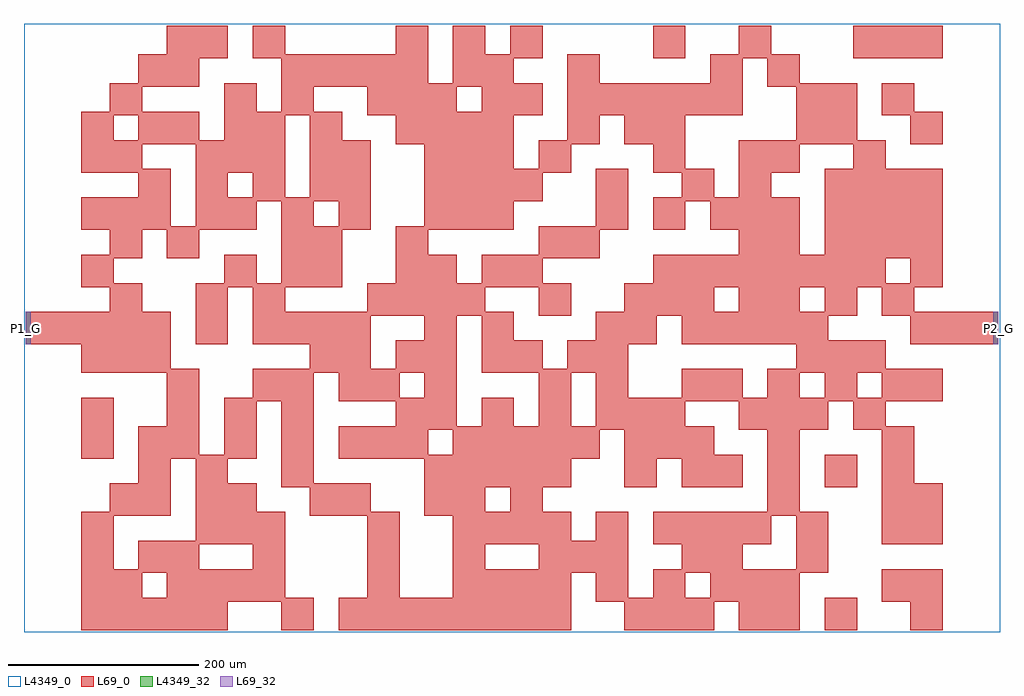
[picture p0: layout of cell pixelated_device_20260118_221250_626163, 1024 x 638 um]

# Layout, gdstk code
import gdstk
lib = gdstk.Library(unit=1e-6, precision=1e-09)
def R(c, l, rs):  # rectangles x0, y0, x1, y1
    for r in rs: c.add(gdstk.rectangle(r[:2], r[2:], *l))
def P(c, l, *ps):  # polygons
    for p in ps: c.add(gdstk.Polygon(p, *l))
L69_0 = (69, 0)
L69_32 = (69, 32)
L4349_0 = (4349, 0)
L4349_32 = (4349, 32)

pixelated_device_2026011 = lib.new_cell('pixelated_device_20260118_221250_626163')
R(pixelated_device_2026011, L69_0, [(328,-317,362,-283), (328,-167,362,-133), (-452,-137,-418,-73), (148,283,182,317), (358,283,452,317)])
P(pixelated_device_2026011, L69_0, [(418,-317),(418,-287),(388,-287),(388,-253),(452,-253),(452,-317)],
  [(418,193),(418,223),(388,223),(388,257),(422,257),(422,227),(452,227),(452,193)],
  [(-452,-317),(-452,-257),(-388,-257),(-388,-283),(-362,-283),(-362,-257),(-452,-257),(-452,-193),(-422,-193),(-422,-163),(-392,-163),(-392,-137),(-358,-137),(-358,-197),(-418,-197),(-418,-253),(-392,-253),(-392,-227),(-328,-227),(-328,-253),(-272,-253),(-272,-227),(-392,-227),(-392,-223),(-332,-223),(-332,-137),(-392,-137),(-392,-103),(-362,-103),(-362,-47),(-452,-47),(-452,-17),(-510,-17),(-510,17),(-422,17),(-422,43),(-452,43),(-452,77),(-422,77),(-422,103),(-452,103),(-452,137),(-392,137),(-392,163),(-452,163),(-452,193),(-388,193),(-388,167),(-358,167),(-358,107),(-332,107),(-332,133),(-268,133),(-268,103),(-328,103),(-328,73),(-362,73),(-362,103),(-388,103),(-388,73),(-418,73),(-418,47),(-388,47),(-388,17),(-358,17),(-358,-43),(-328,-43),(-328,-133),(-302,-133),(-302,-73),(-272,-73),(-272,-47),(-208,-47),(-208,-163),(-148,-163),(-148,-193),(-118,-193),(-118,-283),(-62,-283),(-62,-227),(-28,-227),(-28,-253),(28,-253),(28,-227),(-62,-227),(-62,-197),(-92,-197),(-92,-167),(-28,-167),(-28,-193),(-2,-193),(-2,-167),(-92,-167),(-92,-137),(-182,-137),(-182,-107),(-88,-107),(-88,-133),(-62,-133),(-62,-107),(-182,-107),(-182,-103),(-122,-103),(-122,-77),(-182,-77),(-182,-47),(-118,-47),(-118,-73),(-92,-73),(-92,-47),(-272,-47),(-272,-43),(-212,-43),(-212,-17),(-272,-17),(-272,13),(-148,13),(-148,-43),(-122,-43),(-122,-13),(-92,-13),(-92,13),(-58,13),(-58,-103),(-32,-103),(-32,-73),(2,-73),(2,-103),(28,-103),(28,-47),(62,-47),(62,-103),(88,-103),(88,-77),(182,-77),(182,-103),(212,-103),(212,-133),(242,-133),(242,-167),(178,-167),(178,-137),(152,-137),(152,-167),(118,-167),(118,-107),(92,-107),(92,-137),(62,-137),(62,-167),(32,-167),(32,-193),(62,-193),(62,-223),(88,-223),(88,-193),(122,-193),(122,-283),(148,-283),(148,-257),(182,-257),(182,-283),(208,-283),(208,-257),(148,-257),(148,-253),(178,-253),(178,-227),(148,-227),(148,-197),(272,-197),(272,-227),(242,-227),(242,-253),(298,-253),(298,-197),(148,-197),(148,-193),(268,-193),(268,-107),(238,-107),(238,-77),(88,-77),(88,-47),(-32,-47),(-32,13),(-272,13),(-272,43),(-298,43),(-298,-17),(-332,-17),(-332,47),(-302,47),(-302,77),(-268,77),(-268,47),(-242,47),(-242,133),(-208,133),(-208,107),(-182,107),(-182,133),(-332,133),(-332,163),(-298,163),(-298,137),(-272,137),(-272,163),(-332,163),(-332,193),(-452,193),(-452,223),(-418,223),(-418,197),(-392,197),(-392,223),(-452,223),(-452,227),(-422,227),(-422,257),(-392,257),(-392,287),(-362,287),(-362,317),(-298,317),(-298,283),(-328,283),(-328,253),(-388,253),(-388,227),(-328,227),(-328,197),(-302,197),(-302,223),(-238,223),(-238,137),(-212,137),(-212,223),(-302,223),(-302,257),(-268,257),(-268,227),(-242,227),(-242,253),(-208,253),(-208,227),(-178,227),(-178,197),(-148,197),(-148,103),(-178,103),(-178,43),(-238,43),(-238,17),(-152,17),(-152,47),(-122,47),(-122,107),(-92,107),(-92,193),(-122,193),(-122,223),(-152,223),(-152,253),(-58,253),(-58,227),(-32,227),(-32,253),(-242,253),(-242,283),(-272,283),(-272,317),(-238,317),(-238,287),(-122,287),(-122,317),(-88,317),(-88,257),(-62,257),(-62,317),(-28,317),(-28,287),(-2,287),(-2,317),(32,317),(32,283),(2,283),(2,257),(32,257),(32,223),(2,223),(2,167),(28,167),(28,197),(58,197),(58,223),(92,223),(92,193),(62,193),(62,163),(32,163),(32,133),(2,133),(2,103),(-88,103),(-88,77),(-58,77),(-58,47),(-32,47),(-32,77),(28,77),(28,107),(88,107),(88,167),(122,167),(122,103),(92,103),(92,73),(32,73),(32,47),(62,47),(62,13),(28,13),(28,43),(-28,43),(-28,17),(2,17),(2,-13),(32,-13),(32,-43),(58,-43),(58,-13),(88,-13),(88,13),(152,13),(152,-17),(122,-17),(122,-73),(178,-73),(178,-43),(242,-43),(242,-73),(268,-73),(268,-47),(302,-47),(302,-73),(328,-73),(328,-47),(362,-47),(362,-73),(388,-73),(388,-47),(268,-47),(268,-43),(298,-43),(298,-17),(178,-17),(178,13),(88,13),(88,17),(118,17),(118,43),(212,43),(212,17),(238,17),(238,43),(302,43),(302,17),(328,17),(328,43),(118,43),(118,47),(148,47),(148,73),(392,73),(392,47),(418,47),(418,73),(148,73),(148,77),(238,77),(238,103),(208,103),(208,133),(182,133),(182,103),(148,103),(148,137),(178,137),(178,163),(148,163),(148,193),(118,193),(118,223),(58,223),(58,287),(92,287),(92,257),(208,257),(208,283),(242,283),(242,223),(182,223),(182,167),(212,167),(212,137),(238,137),(238,193),(302,193),(302,163),(272,163),(272,137),(302,137),(302,77),(328,77),(328,167),(358,167),(358,193),(238,193),(238,197),(298,197),(298,253),(268,253),(268,283),(208,283),(208,287),(238,287),(238,317),(272,317),(272,287),(302,287),(302,257),(362,257),(362,197),(392,197),(392,167),(452,167),(452,43),(422,43),(422,17),(510,17),(510,-17),(418,-17),(418,13),(388,13),(388,43),(362,43),(362,13),(332,13),(332,-13),(392,-13),(392,-43),(452,-43),(452,-77),(392,-77),(392,-103),(422,-103),(422,-163),(452,-163),(452,-227),(388,-227),(388,-107),(358,-107),(358,-77),(332,-77),(332,-107),(302,-107),(302,-193),(332,-193),(332,-257),(302,-257),(302,-317),(238,-317),(238,-287),(212,-287),(212,-317),(118,-317),(118,-287),(88,-287),(88,-257),(62,-257),(62,-317),(-182,-317),(-182,-283),(-152,-283),(-152,-197),(-212,-197),(-212,-167),(-242,-167),(-242,-77),(-268,-77),(-268,-137),(-298,-137),(-298,-163),(-268,-163),(-268,-193),(-238,-193),(-238,-283),(-208,-283),(-208,-317),(-242,-317),(-242,-287),(-298,-287),(-298,-317)])
R(pixelated_device_2026011, L69_32, [(-510,-17,-505,17), (505,-17,510,17)])
R(pixelated_device_2026011, L4349_0, [(-512,-319,512,319)])
R(pixelated_device_2026011, L4349_32, [(-510,-17,-505,17), (505,-17,510,17)])
pixelated_device_2026011.add(gdstk.Label('P1_G', (-510,0), layer=4349, texttype=0))
pixelated_device_2026011.add(gdstk.Label('P2_G', (510,0), layer=4349, texttype=0))
pixelated_device_2026011.add(gdstk.Label('P1', (-510,0), layer=69, texttype=0))
pixelated_device_2026011.add(gdstk.Label('P2', (510,0), layer=69, texttype=0))

lib.write_gds('pixelated_device_20260118_221250_626163.gds')
